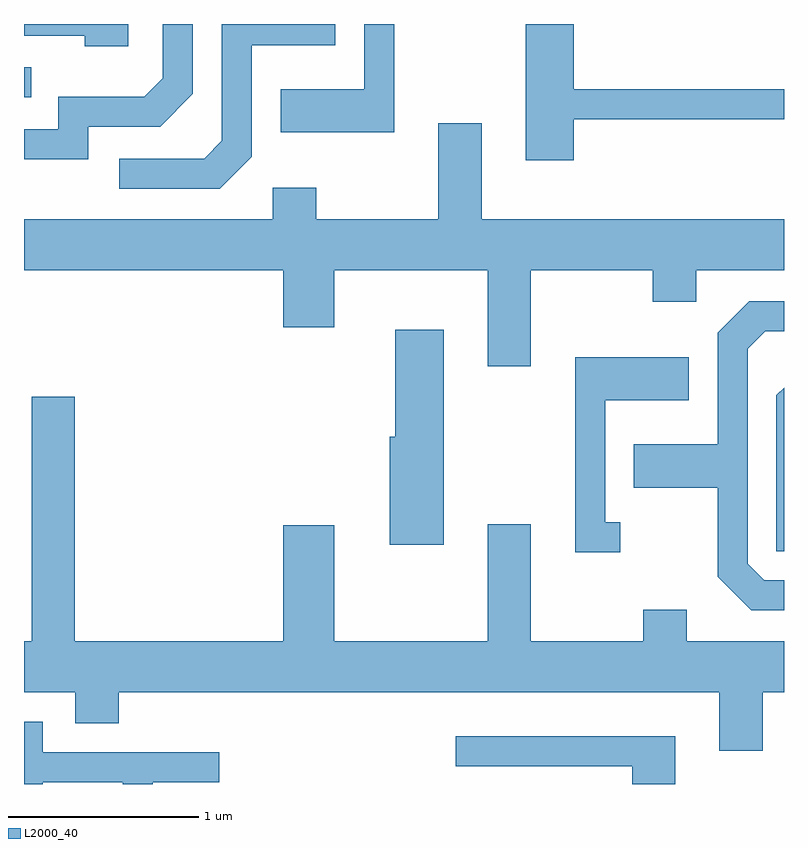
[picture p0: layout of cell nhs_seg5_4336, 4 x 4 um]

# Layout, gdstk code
import gdstk
lib = gdstk.Library(unit=1e-6, precision=1e-09)
def R(c, l, rs):  # rectangles x0, y0, x1, y1
    for r in rs: c.add(gdstk.rectangle(r[:2], r[2:], *l))
def P(c, l, *ps):  # polygons
    for p in ps: c.add(gdstk.Polygon(p, *l))
L2000_40 = (2000, 40)

nhs_seg5_4336 = lib.new_cell('nhs_seg5_4336')
R(nhs_seg5_4336, L2000_40, [(313.611,1477.686,313.648,1477.844)])
P(nhs_seg5_4336, L2000_40, [(313.949,1477.531),(314.327,1477.531),(314.499,1477.704),(314.499,1478.072),(314.341,1478.072),(314.341,1477.787),(314.244,1477.689),(313.791,1477.689),(313.791,1477.519),(313.611,1477.519),(313.611,1477.361),(313.949,1477.361)],
  [(315.559,1478.072),(315.401,1478.072),(315.401,1477.729),(314.961,1477.729),(314.961,1477.501),(315.559,1477.501)],
  [(314.809,1477.374),(314.809,1477.961),(315.249,1477.961),(315.249,1478.072),(314.651,1478.072),(314.651,1477.457),(314.559,1477.364),(314.113,1477.364),(314.113,1477.206),(314.642,1477.206)],
  [(316.504,1477.571),(317.611,1477.571),(317.611,1477.729),(316.504,1477.729),(316.504,1478.072),(316.251,1478.072),(316.251,1477.356),(316.504,1477.356)],
  [(314.159,1478.072),(313.611,1478.072),(313.611,1478.011),(313.931,1478.011),(313.931,1477.956),(314.159,1477.956)],
  [(316.279,1476.776),(316.921,1476.776),(316.921,1476.611),(317.149,1476.611),(317.149,1476.776),(317.611,1476.776),(317.611,1477.044),(316.019,1477.044),(316.019,1477.549),(315.791,1477.549),(315.791,1477.044),(315.149,1477.044),(315.149,1477.209),(314.921,1477.209),(314.921,1477.044),(313.611,1477.044),(313.611,1476.776),(314.976,1476.776),(314.976,1476.476),(315.244,1476.476),(315.244,1476.776),(316.051,1476.776),(316.051,1476.271),(316.279,1476.271)],
  [(317.611,1475.144),(317.507,1475.144),(317.419,1475.232),(317.419,1476.364),(317.512,1476.456),(317.611,1476.456),(317.611,1476.614),(317.429,1476.614),(317.261,1476.447),(317.261,1475.859),(316.821,1475.859),(316.821,1475.631),(317.261,1475.631),(317.261,1475.164),(317.439,1474.986),(317.611,1474.986)],
  [(315.819,1476.464),(315.566,1476.464),(315.566,1475.899),(315.536,1475.899),(315.536,1475.331),(315.819,1475.331)],
  [(316.748,1475.449),(316.669,1475.449),(316.669,1476.091),(317.109,1476.091),(317.109,1476.319),(316.511,1476.319),(316.511,1475.291),(316.748,1475.291)],
  [(317.611,1476.157),(317.571,1476.117),(317.571,1475.296),(317.611,1475.296)],
  [(317.499,1474.556),(317.611,1474.556),(317.611,1474.824),(317.099,1474.824),(317.099,1474.989),(316.871,1474.989),(316.871,1474.824),(316.279,1474.824),(316.279,1475.439),(316.051,1475.439),(316.051,1474.824),(315.244,1474.824),(315.244,1475.434),(314.976,1475.434),(314.976,1474.824),(313.879,1474.824),(313.879,1476.109),(313.651,1476.109),(313.651,1474.824),(313.611,1474.824),(313.611,1474.556),(313.881,1474.556),(313.881,1474.391),(314.109,1474.391),(314.109,1474.556),(317.271,1474.556),(317.271,1474.246),(317.499,1474.246)],
  [(313.709,1474.081),(314.131,1474.081),(314.131,1474.072),(314.289,1474.072),(314.289,1474.081),(314.638,1474.081),(314.638,1474.239),(313.709,1474.239),(313.709,1474.399),(313.611,1474.399),(313.611,1474.072),(313.709,1474.072)],
  [(317.039,1474.324),(315.883,1474.324),(315.883,1474.166),(316.811,1474.166),(316.811,1474.072),(317.039,1474.072)])

lib.write_gds('nhs_seg5_4336.gds')
